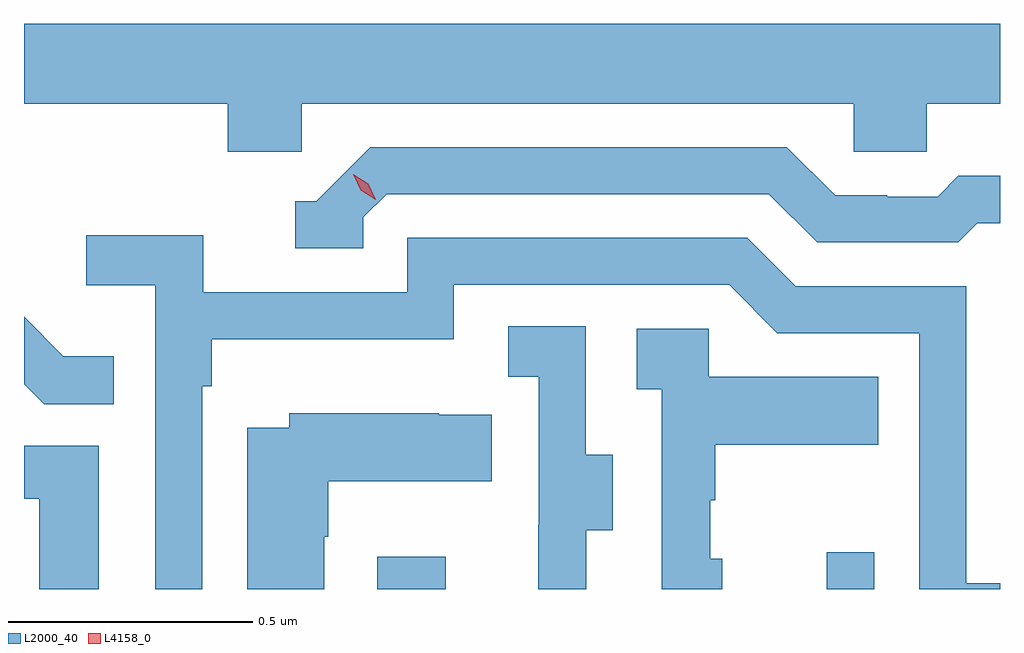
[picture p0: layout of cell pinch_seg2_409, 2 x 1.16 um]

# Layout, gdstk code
import gdstk
lib = gdstk.Library(unit=1e-6, precision=1e-09)
def R(c, l, rs):  # rectangles x0, y0, x1, y1
    for r in rs: c.add(gdstk.rectangle(r[:2], r[2:], *l))
def P(c, l, *ps):  # polygons
    for p in ps: c.add(gdstk.Polygon(p, *l))
L2000_40 = (2000, 40)
L4158_0 = (4158, 0)

pinch_seg2_409 = lib.new_cell('pinch_seg2_409')
R(pinch_seg2_409, L2000_40, [(982.571,620.001,982.711,620.068), (983.492,620.001,983.589,620.077)])
P(pinch_seg2_409, L2000_40, [(982.416,620.996),(983.547,620.996),(983.547,620.898),(983.697,620.898),(983.697,620.996),(983.847,620.996),(983.847,621.16),(981.847,621.16),(981.847,620.996),(982.265,620.996),(982.265,620.898),(982.416,620.898)],
  [(982.542,620.763),(982.59,620.811),(983.373,620.811),(983.472,620.712),(983.761,620.712),(983.8,620.751),(983.847,620.751),(983.847,620.848),(983.761,620.848),(983.719,620.805),(983.616,620.805),(983.616,620.808),(983.509,620.808),(983.41,620.907),(982.557,620.907),(982.446,620.796),(982.403,620.796),(982.403,620.7),(982.542,620.7)],
  [(982.212,620.417),(982.232,620.417),(982.232,620.513),(982.728,620.513),(982.728,620.625),(983.292,620.625),(983.391,620.526),(983.682,620.526),(983.682,620.001),(983.847,620.001),(983.847,620.013),(983.778,620.013),(983.778,620.622),(983.428,620.622),(983.329,620.721),(982.632,620.721),(982.632,620.61),(982.214,620.61),(982.214,620.726),(981.975,620.726),(981.975,620.624),(982.116,620.624),(982.116,620.001),(982.212,620.001)],
  [(982.031,620.479),(981.927,620.479),(981.847,620.559),(981.847,620.421),(981.888,620.38),(982.031,620.38)],
  [(982.999,620.122),(983.053,620.122),(983.053,620.277),(982.998,620.277),(982.998,620.54),(982.839,620.54),(982.839,620.437),(982.902,620.437),(982.902,620.133),(982.901,620.133),(982.901,620.001),(982.999,620.001)],
  [(983.278,620.064),(983.253,620.064),(983.253,620.183),(983.263,620.183),(983.263,620.297),(983.597,620.297),(983.597,620.437),(983.25,620.437),(983.25,620.535),(983.103,620.535),(983.103,620.411),(983.154,620.411),(983.154,620.001),(983.278,620.001)],
  [(982.462,620.109),(982.47,620.109),(982.47,620.222),(982.805,620.222),(982.805,620.359),(982.697,620.359),(982.697,620.362),(982.391,620.362),(982.391,620.332),(982.304,620.332),(982.304,620.001),(982.462,620.001)],
  [(982,620.295),(981.847,620.295),(981.847,620.187),(981.878,620.187),(981.878,620.001),(982,620.001)])
P(pinch_seg2_409, L4158_0, [(982.568,620.799),(982.537,620.819),(982.522,620.851),(982.522,620.852),(982.522,620.852),(982.552,620.832),(982.568,620.799),(982.568,620.799)])

lib.write_gds('pinch_seg2_409.gds')
